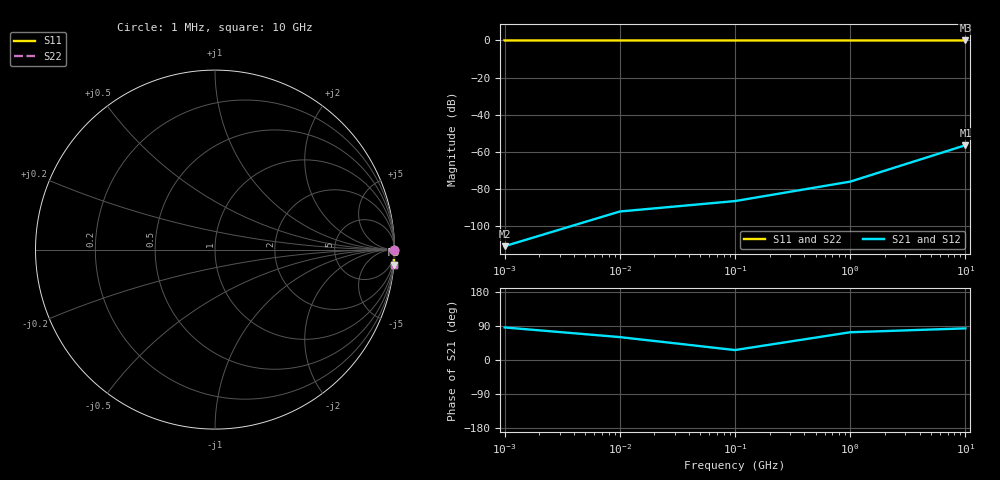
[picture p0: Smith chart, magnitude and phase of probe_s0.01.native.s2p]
! Sonnet Data File
! From: em Version : 18.53-Lite
! From Project: probe_s0.01
! Data is NOT De-embedded
! Data File Written: 10/12/2026 10:33:27
!< HDATE 10/12/2026 10:33:27
!< MDATE 10/12/2026 10:33:27
# GHZ S RI R 50.00000
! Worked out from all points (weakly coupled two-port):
!   5 points, 1 MHz to 10 GHz, reference 50 ohm
!   highest |S21| = -56.56 dB at 10 GHz (marker M1); lowest = -111.0 dB at 1 MHz (marker M2)
!   lowest |S11| = 0.0 dB at 10 GHz (marker M3)
!   |S11| at or under -10 dB: nowhere
!   |S22| runs from 0.0 to 0.0 dB; largest |S21 - S12| = 5.7e-11
0.001  1 -1.42e-05  1.99e-07 2.8e-06  1.99e-07 2.8e-06  1 -1.42e-05
0.01  1 -0.000131  1.19e-05 2.1e-05  1.19e-05 2.1e-05  1 -0.000131
0.1  0.9999 -0.000917  4.15e-05 2.04e-05  4.15e-05 2.04e-05  0.9999 -0.000917
1  0.9997 -0.00841  4.46e-05 0.000148  4.46e-05 0.000148  0.9997 -0.00841
10  0.9962 -0.084  0.000169 0.00148  0.000169 0.00148  0.9962 -0.084
